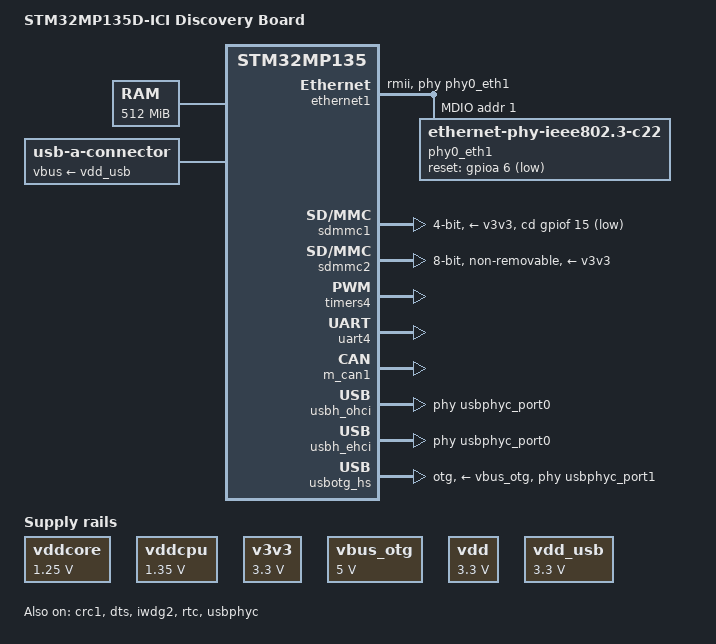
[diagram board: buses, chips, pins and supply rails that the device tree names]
// SPDX-License-Identifier: (GPL-2.0+ OR BSD-3-Clause)
/*
 * Copyright (C) STMicroelectronics 2022 - All Rights Reserved
 * Author: Alexandre Torgue <alexandre.torgue@foss.st.com> for STMicroelectronics.
 */

/dts-v1/;

#include <dt-bindings/gpio/gpio.h>
#include <dt-bindings/input/input.h>
#include <dt-bindings/input/linux-event-codes.h>
#include <dt-bindings/leds/common.h>
#include <dt-bindings/rtc/rtc-stm32.h>
#include "stm32mp135.dtsi"
#include "stm32mp13xd.dtsi"
#include "stm32mp13-pinctrl-ici.dtsi"
#include <dt-bindings/usb/pd.h>
#include <dt-bindings/pwm/pwm.h>

/ {
	model = "STM32MP135D-ICI Discovery Board";
	compatible = "st,stm32mp135d-ici", "st,stm32mp135";

	aliases {
		ethernet0 = &ethernet1;
		serial0 = &uart4;
	};

	chosen {
		#address-cells = <1>;
		#size-cells = <1>;
		ranges;
		stdout-path = "serial0:115200n8";
	};

	clocks {
		clk_mco1: clk-mco1 {
			#clock-cells = <0>;
			compatible = "fixed-clock";
			clock-frequency = <24000000>;
		};
	};

	memory@c0000000 {
		device_type = "memory";
		reg = <0xc0000000 0x20000000>;
	};

	reserved-memory {
		#address-cells = <1>;
		#size-cells = <1>;
		ranges;

		optee_reserved@dc000000 {
			reg = <0xdc000000 0x2000000>;
			no-map;
		};
		optee@de000000 {
			reg = <0xde000000 0x2000000>;
			no-map;
		};
	};

	vddcore: vddcore {
        compatible = "regulator-fixed";
        regulator-name = "vddcore";
        regulator-min-microvolt = <1250000>;
        regulator-max-microvolt = <1250000>;
        regulator-off-in-suspend;
        regulator-always-on;
	};

	vddcpu: vddcpu {
		compatible = "regulator-fixed";
		regulator-name = "vddcpu";
		regulator-min-microvolt = <1350000>;
		regulator-max-microvolt = <1350000>;
        regulator-off-in-suspend;
        regulator-always-on;
	};

	v3v3: v3v3 {
        compatible = "regulator-fixed";
        regulator-name = "v3v3";
        regulator-min-microvolt = <3300000>;
        regulator-max-microvolt = <3300000>;
        regulator-off-in-suspend;
        regulator-always-on;
    };

	vbus_otg: vbus_otg {
        compatible = "regulator-fixed";
        regulator-name = "vbus_otg";
        regulator-min-microvolt = <5000000>;
        regulator-max-microvolt = <5000000>;
        regulator-off-in-suspend;
		regulator-always-on;
    };

	vdd: vdd {
        compatible = "regulator-fixed";
        regulator-name = "vdd";
        regulator-min-microvolt = <3300000>;
        regulator-max-microvolt = <3300000>;
        regulator-off-in-suspend;
        regulator-always-on;
    };

	vdd_usb: vdd_usb {
        compatible = "regulator-fixed";
        regulator-name = "vdd_usb";
        regulator-min-microvolt = <3300000>;
        regulator-max-microvolt = <3300000>;
        regulator-off-in-suspend;
        regulator-always-on;
    };
};

&crc1 {
	status = "okay";
};

&dts {
	status = "okay";
};

&ethernet1 {
	status = "okay";
	pinctrl-0 = <&eth1_rmii_pins_a>;
	pinctrl-1 = <&eth1_rmii_sleep_pins_a>;
	pinctrl-names = "default", "sleep";
	phy-mode = "rmii";
	max-speed = <100>;
	phy-handle = <&phy0_eth1>;
	nvmem-cells = <&ethernet_mac1_address>;
	nvmem-cell-names = "mac-address";

	mdio1 {
		#address-cells = <1>;
		#size-cells = <0>;
		compatible = "snps,dwmac-mdio";

		phy0_eth1: ethernet-phy@1 {
			compatible = "ethernet-phy-ieee802.3-c22";
			reset-gpios =  <&gpioa 6 GPIO_ACTIVE_LOW>;
			reset-assert-us = <1000>;
			reset-deassert-us = <30000>;
			reg = <1>;
			wakeup-source;
		};
	};
};

&iwdg2 {
	timeout-sec = <32>;
	status = "okay";
};

&rtc {
	status = "okay";
};

&sdmmc1 {
	pinctrl-names = "default", "opendrain", "sleep";
	pinctrl-0 = <&sdmmc1_b4_pins_a &sdmmc1_clk_pins_a>;
	pinctrl-1 = <&sdmmc1_b4_od_pins_a &sdmmc1_clk_pins_a>;
	pinctrl-2 = <&sdmmc1_b4_sleep_pins_a>;
	cd-gpios = <&gpiof 15 (GPIO_ACTIVE_LOW | GPIO_PULL_UP)>;
	st,neg-edge;
 	no-1-8-v;
	bus-width = <4>;
	vmmc-supply = <&v3v3>;
	#address-cells = <1>;
	#size-cells = <0>;
	status = "okay";
};

/* EMMC */
&sdmmc2 {
	pinctrl-names = "default", "opendrain", "sleep";
	pinctrl-0 = <&sdmmc2_b4_pins_a &sdmmc2_b4_b7_pins_a &sdmmc2_clk_pins_a>;
	pinctrl-1 = <&sdmmc2_b4_od_pins_a &sdmmc2_b4_b7_od_pins_a &sdmmc2_clk_pins_a>;
	pinctrl-2 = <&sdmmc2_b4_sleep_pins_a &sdmmc2_b4_b7_sleep_pins_a>;
	non-removable;
	st,neg-edge;
 	mmc-ddr-3_3v;
 	no-1-8-v;
	bus-width = <8>;
	vmmc-supply = <&v3v3>;
	keep-power-in-suspend;
	#address-cells = <1>;
	#size-cells = <0>;
	status = "okay";
};

&timers4 {
	/delete-property/dmas;
	/delete-property/dma-names;
	status = "okay";

	pwm4:pwm {
		pinctrl-0 = <&pwm4_pins_a>;
		pinctrl-1 = <&pwm4_sleep_pins_a>;
		pinctrl-names = "default", "sleep";
		status = "okay";
	};

	timer@3 {
		status = "okay";
	};
};

&uart4 {
	pinctrl-names = "default";
	pinctrl-0 = <&uart4_pins_a>;
	/delete-property/dmas;
	/delete-property/dma-names;
	status = "okay";
};

&m_can1 {
	pinctrl-names = "default", "sleep";
	pinctrl-0 = <&m_can1_pins_a>;
	pinctrl-1 = <&m_can1_sleep_pins_a>;
	/delete-property/dmas;
	/delete-property/dma-names;
	status = "okay";
};

&usbh_ohci {
	phys = <&usbphyc_port0>;
	phy-names = "usb";
	status = "okay";
};

&usbh_ehci {
	phys = <&usbphyc_port0>;
	status = "okay";
};

&usbotg_hs {
	phys = <&usbphyc_port1 0>;
	phy-names = "usb2-phy";
	dr_mode = "otg";
	pinctrl-0 = <&usbotg_hs_pins_a>;
	pinctrl-names = "default";
	vbus-supply = <&vbus_otg>;
	status = "okay";
};

&usbphyc {
	status = "okay";
};

&usbphyc_port0 {
	phy-supply = <&vdd_usb>;

	st,current-boost-microamp = <1000>;
	st,decrease-hs-slew-rate;
	st,tune-hs-dc-level = <2>;
	st,enable-hs-rftime-reduction;
	st,trim-hs-current = <11>;
	st,trim-hs-impedance = <2>;
	st,tune-squelch-level = <1>;
	st,enable-hs-rx-gain-eq;
	st,no-hs-ftime-ctrl;
	st,no-lsfs-sc;
	/*
	 * Hack to keep hub active if wakeup source is enabled
	 * otherwise the hub will wakeup the port0 as soon as the v3v3_sw is disabled
	 */
	connector {
		compatible = "usb-a-connector";
		vbus-supply = <&vdd_usb>;
	};
};

&usbphyc_port1 {
	phy-supply = <&vdd_usb>;
	st,current-boost-microamp = <1000>;
	st,decrease-hs-slew-rate;
	st,tune-hs-dc-level = <2>;
	st,enable-hs-rftime-reduction;
	st,trim-hs-current = <11>;
	st,trim-hs-impedance = <2>;
	st,tune-squelch-level = <1>;
	st,enable-hs-rx-gain-eq;
	st,no-hs-ftime-ctrl;
	st,no-lsfs-sc;
};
